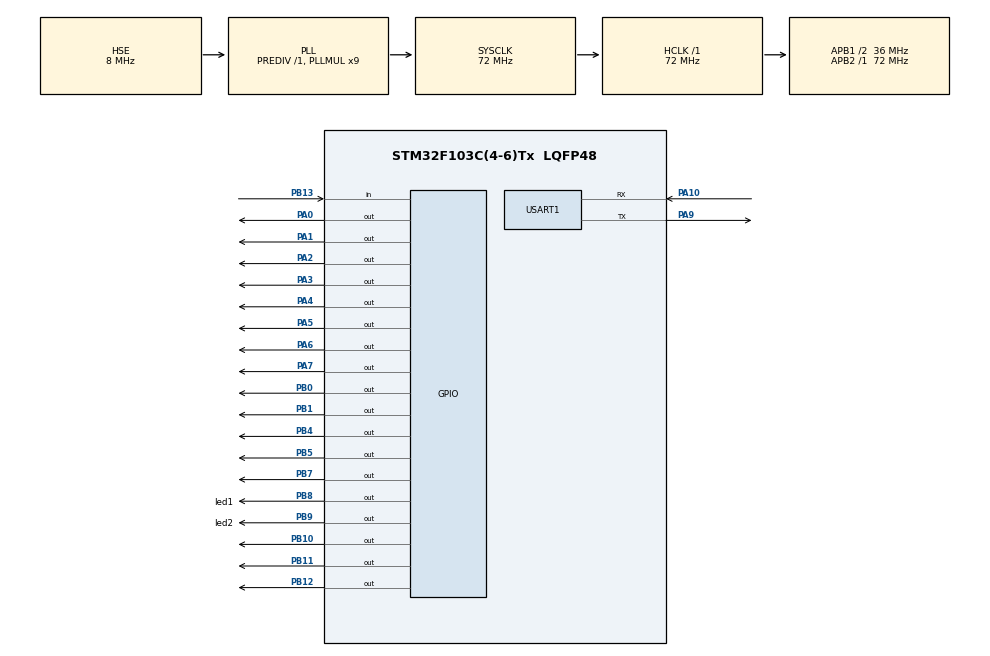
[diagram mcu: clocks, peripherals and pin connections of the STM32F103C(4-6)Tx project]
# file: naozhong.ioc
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Mcu.Family=STM32F1
Mcu.Name=STM32F103C(4-6)Tx
Mcu.Package=LQFP48
NVIC.PriorityGroup=NVIC_PRIORITYGROUP_4
NVIC.USART1_IRQn=true\:0\:0\:false\:false\:true\:true\:true\:true
PA0-WKUP.Signal=GPIO_Output
PA1.Signal=GPIO_Output
PA10.Mode=Asynchronous
PA10.Signal=USART1_RX
PA2.Signal=GPIO_Output
PA3.Signal=GPIO_Output
PA4.Signal=GPIO_Output
PA5.Signal=GPIO_Output
PA6.Signal=GPIO_Output
PA7.Signal=GPIO_Output
PA9.Mode=Asynchronous
PA9.Signal=USART1_TX
PB0.Signal=GPIO_Output
PB1.Signal=GPIO_Output
PB10.Signal=GPIO_Output
PB11.Signal=GPIO_Output
PB12.PinState=GPIO_PIN_SET
PB12.Signal=GPIO_Output
PB13.GPIO_PuPd=GPIO_PULLUP
PB13.Signal=GPIO_Input
PB4.Signal=GPIO_Output
PB5.Signal=GPIO_Output
PB7.Signal=GPIO_Output
PB8.GPIO_Label=led1
PB8.Signal=GPIO_Output
PB9.GPIO_Label=led2
PB9.Signal=GPIO_Output
PD0-OSC_IN.Mode=HSE-External-Oscillator
PD0-OSC_IN.Signal=RCC_OSC_IN
PD1-OSC_OUT.Mode=HSE-External-Oscillator
PD1-OSC_OUT.Signal=RCC_OSC_OUT
ProjectManager.HeapSize=0x200
ProjectManager.StackSize=0x400
ProjectManager.TargetToolchain=MDK-ARM V5.32
RCC.ADCPresc=RCC_ADCPCLK2_DIV6
RCC.AHBFreq_Value=72000000
RCC.APB1CLKDivider=RCC_HCLK_DIV2
RCC.APB1Freq_Value=36000000
RCC.APB1TimFreq_Value=72000000
RCC.APB2Freq_Value=72000000
RCC.APB2TimFreq_Value=72000000
RCC.HCLKFreq_Value=72000000
RCC.PLLMUL=RCC_PLL_MUL9
RCC.PLLSourceVirtual=RCC_PLLSOURCE_HSE
RCC.SYSCLKFreq_VALUE=72000000
RCC.SYSCLKSource=RCC_SYSCLKSOURCE_PLLCLK
RCC.USBFreq_Value=72000000
USART1.VirtualMode=VM_ASYNC
VP_SYS_VS_ND.Mode=No_Debug
board=custom

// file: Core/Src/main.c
/* USER CODE BEGIN Header */
/**
  ******************************************************************************
  * @file           : main.c
  * @brief          : Main program body
  ******************************************************************************
  * @attention
  *
  * Copyright (c) 2023 STMicroelectronics.
  * All rights reserved.
  *
  * This software is licensed under terms that can be found in the LICENSE file
  * in the root directory of this software component.
  * If no LICENSE file comes with this software, it is provided AS-IS.
  *
  ******************************************************************************
  */
/* USER CODE END Header */
#include "main.h"
#include "usart.h"
#include "gpio.h"

/* USER CODE BEGIN Includes */
#include "hx711.h"
#include <stdio.h>

/* USER CODE END Includes */

/* USER CODE BEGIN PTD */
int s=0;
int h=6,m=59;
int flag=1;
uint32_t sensorData;
/* USER CODE END PTD */

/* USER CODE BEGIN PD */
int fputc(int ch, FILE *f)
{
HAL_UART_Transmit(&huart1 , (uint8_t *)&ch, 1, 0xFFFF);
return ch;
}
/* USER CODE END PD */

void SystemClock_Config(void);
/* USER CODE BEGIN PFP */
int flags=0;
int flag4=0;
int flag5=0;
/* USER CODE END PFP */

int main(void)
{

  /* MCU Configuration--------------------------------------------------------*/

  /* Reset of all peripherals, Initializes the Flash interface and the Systick. */
  HAL_Init();

  /* Configure the system clock */
  SystemClock_Config();

  /* Initialize all configured peripherals */
  MX_GPIO_Init();
  MX_USART1_UART_Init();
  /* USER CODE BEGIN 2 */
	HAL_GPIO_WritePin(GPIOB,GPIO_PIN_4,0);
//	HX711_Init();
  /* USER CODE END 2 */

  /* Infinite loop */
  while (1)
  {

    /* USER CODE BEGIN 3 */
//		HAL_GPIO_WritePin(led_4_A[6].gpio,led_4_A[6].pin,1);
//display4(1234);
//		display_x4(1,2,3,4);
		int j=0;
		float sum=0;
//		display_s_s(flag);
		for(j=0;j<5;j++)
		{
			sum += WeightReal();
		}
		display_s_s(flag);
		sensorData = sum/5;
		if(sensorData>3500)
		{
			led_open(3);
			flags=0;
			beep(0);
			flag5=1;
		}
			else if(sensorData>2500)
		{
			led_open(2);
			flags=0;
			beep(0);
			flag5=1;
		}
			else if(sensorData>1000)
		{
			led_open(1);
			flags=0;
			beep(0);
			flag5=1;
		}
		else
		led_open(0);

//		beep(1);
//		HAL_Delay(111);
//		if(flag5==1)
//		{
//			if(!(h==7&&m==0))
//
//		}

		if(h==7&&m==0&&flag5==0)
		{
			flags=1;
//			flag5=0;
		}
		if(flags==1){
			beep(1);
		}

//		display_xms(55,55);
//		uint32_t sensorData = WeightReal();
//		printf("%d,%d,%d\n",h,m,sensorData);

  }
  /* USER CODE END 3 */
}

void SystemClock_Config(void)
{
  RCC_OscInitTypeDef RCC_OscInitStruct = {0};
  RCC_ClkInitTypeDef RCC_ClkInitStruct = {0};

  /** Initializes the RCC Oscillators according to the specified parameters
  * in the RCC_OscInitTypeDef structure.
  */
  RCC_OscInitStruct.OscillatorType = RCC_OSCILLATORTYPE_HSE;
  RCC_OscInitStruct.HSEState = RCC_HSE_ON;
  RCC_OscInitStruct.HSEPredivValue = RCC_HSE_PREDIV_DIV1;
  RCC_OscInitStruct.HSIState = RCC_HSI_ON;
  RCC_OscInitStruct.PLL.PLLState = RCC_PLL_ON;
  RCC_OscInitStruct.PLL.PLLSource = RCC_PLLSOURCE_HSE;
  RCC_OscInitStruct.PLL.PLLMUL = RCC_PLL_MUL9;
  if (HAL_RCC_OscConfig(&RCC_OscInitStruct) != HAL_OK)
  {
    Error_Handler();
  }

  /** Initializes the CPU, AHB and APB buses clocks
  */
  RCC_ClkInitStruct.ClockType = RCC_CLOCKTYPE_HCLK|RCC_CLOCKTYPE_SYSCLK
                              |RCC_CLOCKTYPE_PCLK1|RCC_CLOCKTYPE_PCLK2;
  RCC_ClkInitStruct.SYSCLKSource = RCC_SYSCLKSOURCE_PLLCLK;
  RCC_ClkInitStruct.AHBCLKDivider = RCC_SYSCLK_DIV1;
  RCC_ClkInitStruct.APB1CLKDivider = RCC_HCLK_DIV2;
  RCC_ClkInitStruct.APB2CLKDivider = RCC_HCLK_DIV1;

  if (HAL_RCC_ClockConfig(&RCC_ClkInitStruct, FLASH_LATENCY_2) != HAL_OK)
  {
    Error_Handler();
  }
}

void Error_Handler(void)
{
  __disable_irq();
  while (1)
  {
  }
}
